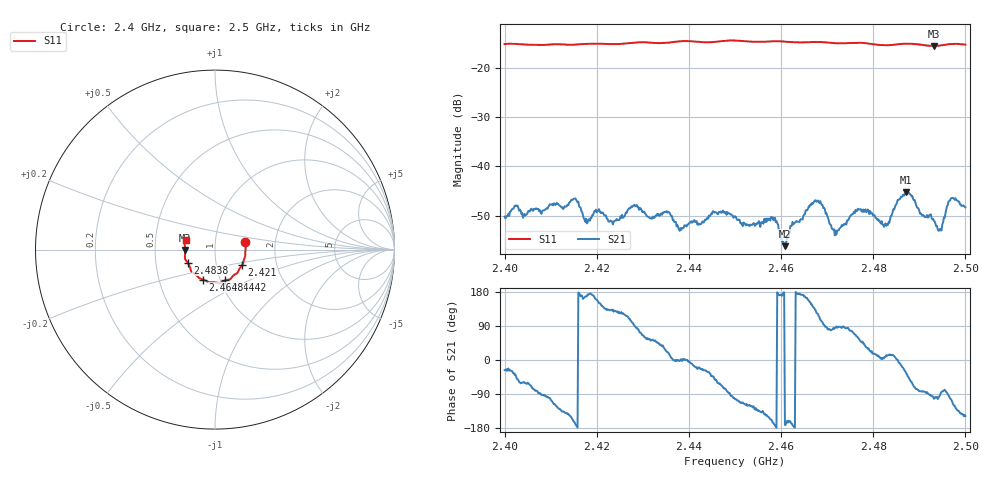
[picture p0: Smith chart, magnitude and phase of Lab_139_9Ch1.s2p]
# Hz S RI R 50
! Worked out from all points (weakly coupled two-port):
!   601 points, 2.4 GHz to 2.5 GHz, reference 50 ohm
!   highest |S21| = -45.26 dB at 2.4872 GHz (marker M1); lowest = -56.1 dB at 2.4608 GHz (marker M2)
!   lowest |S11| = -15.6 dB at 2.4932 GHz (marker M3), VSWR 1.40, Z = 35.8 - j0.096 ohm
!   |S11| at or under -10 dB: start of sweep to end of sweep
!   S12 and S22 are empty: the file has one direction only
!   S11 on the Smith chart (normalised r, x): 2.4 GHz: 1.40, +0.12; 2.421 GHz: 1.33, -0.24; 2.4442 GHz: 1.05, -0.37; 2.4648 GHz: 0.83, -0.29; 2.4838 GHz: 0.73, -0.11; 2.5 GHz: 0.72, +0.08
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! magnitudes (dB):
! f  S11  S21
! 2.4 GHz  -15.2  -50.2
! 2.415 GHz  -15.4  -46.6
! 2.4167 GHz  -15.3  -49.0
! 2.421 GHz  -15.2  -49.3
! 2.4333 GHz  -15.0  -49.6
! 2.4383 GHz  -14.7  -52.9
! 2.4442 GHz  -14.9  -50.6
! 2.45 GHz  -14.5  -50.1
! 2.4583 GHz  -14.7  -50.9
! 2.4608 GHz  -14.7  -56.1
! 2.4648 GHz  -14.9  -50.0
! 2.4667 GHz  -14.8  -47.4
! 2.4685 GHz  -14.8  -47.0
! 2.4717 GHz  -15.1  -54.0
! 2.4767 GHz  -15.0  -48.6
! 2.4833 GHz  -15.5  -51.3
! 2.4838 GHz  -15.4  -50.0
! 2.4872 GHz  -15.2  -45.3
! 2.4932 GHz  -15.6  -51.0
! 2.4945 GHz  -15.5  -52.6
! 2.497 GHz  -15.2  -46.4
! 2.5 GHz  -15.4  -48.3
